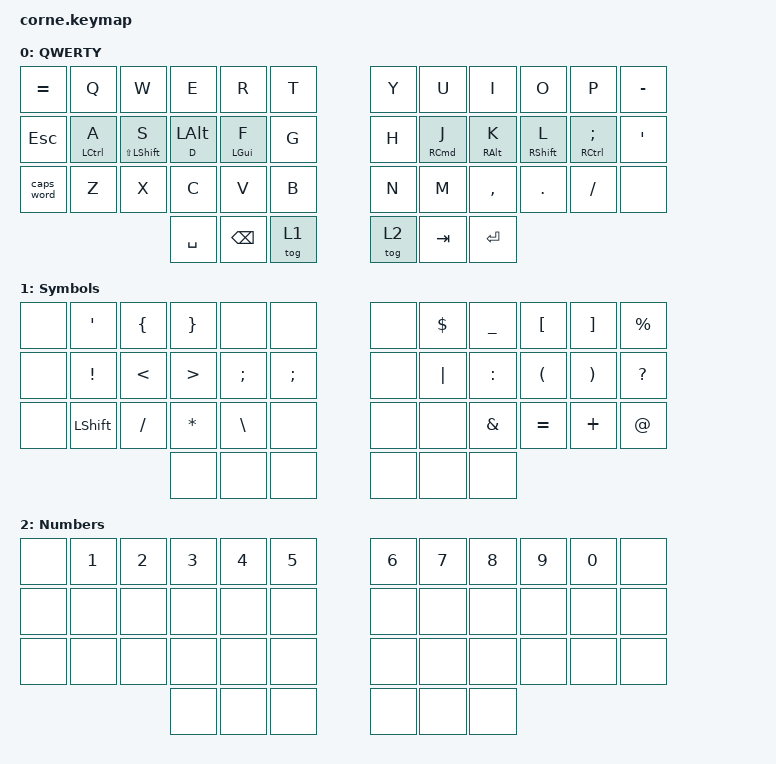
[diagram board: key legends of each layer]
#include <behaviors.dtsi>
#include <dt-bindings/zmk/keys.h>

/ {
    behaviors {
        hrm: hrm {
            compatible = "zmk,behavior-hold-tap";
            label = "HRM";
            bindings = <&kp>, <&kp>;

            #binding-cells = <2>;
            tapping-term-ms = <175>;
            quick-tap-ms = <280>;
            require-prior-idle-ms = <150>;
            flavor = "balanced";
        };
    };

    keymap {
        compatible = "zmk,keymap";

        QWERTY {
            bindings = <
&kp EQUAL   &kp Q                &kp W              &kp E            &kp R            &kp T     &kp Y   &kp U                 &kp I             &kp O               &kp P                         &kp MINUS
&kp ESC     &hrm LEFT_CONTROL A  &hrm LS(LSHIFT) S  &hrm D LEFT_ALT  &hrm LEFT_GUI F  &kp G     &kp H   &hrm RIGHT_COMMAND J  &hrm RIGHT_ALT K  &hrm RIGHT_SHIFT L  &hrm RIGHT_CONTROL SEMICOLON  &kp APOS
&caps_word  &kp Z                &kp X              &kp C            &kp V            &kp B     &kp N   &kp M                 &kp COMMA         &kp DOT             &kp FSLH                      &none
                                                    &kp SPACE        &kp BSPC         &tog 1    &tog 2  &kp TAB               &kp ENTER
            >;
        };

        Symbols {
            bindings = <
&none  &kp SINGLE_QUOTE  &kp LBRC  &kp RBRC  &none     &none       &none  &kp DOLLAR  &kp UNDERSCORE  &kp LBKT              &kp RBKT               &kp PERCENT
&none  &kp EXCL          &kp LT    &kp GT    &kp SEMI  &kp SEMI    &none  &kp PIPE    &kp COLON       &kp LEFT_PARENTHESIS  &kp RIGHT_PARENTHESIS  &kp QMARK
&none  &kp LSHFT         &kp FSLH  &kp STAR  &kp BSLH  &none       &none  &none       &kp AMPERSAND   &kp EQUAL             &kp PLUS               &kp AT_SIGN
                                   &none     &none     &none       &none  &none       &none
            >;
        };

        Numbers {
            bindings = <
&none  &kp N1  &kp N2  &kp N3  &kp N4  &kp N5    &kp N6  &kp N7  &kp N8  &kp N9  &kp N0  &none
&none  &none   &none   &none   &none   &none     &none   &none   &none   &none   &none   &none
&none  &none   &none   &none   &none   &none     &none   &none   &none   &none   &none   &none
                       &none   &none   &none     &none   &none   &none
            >;
        };
    };
};

